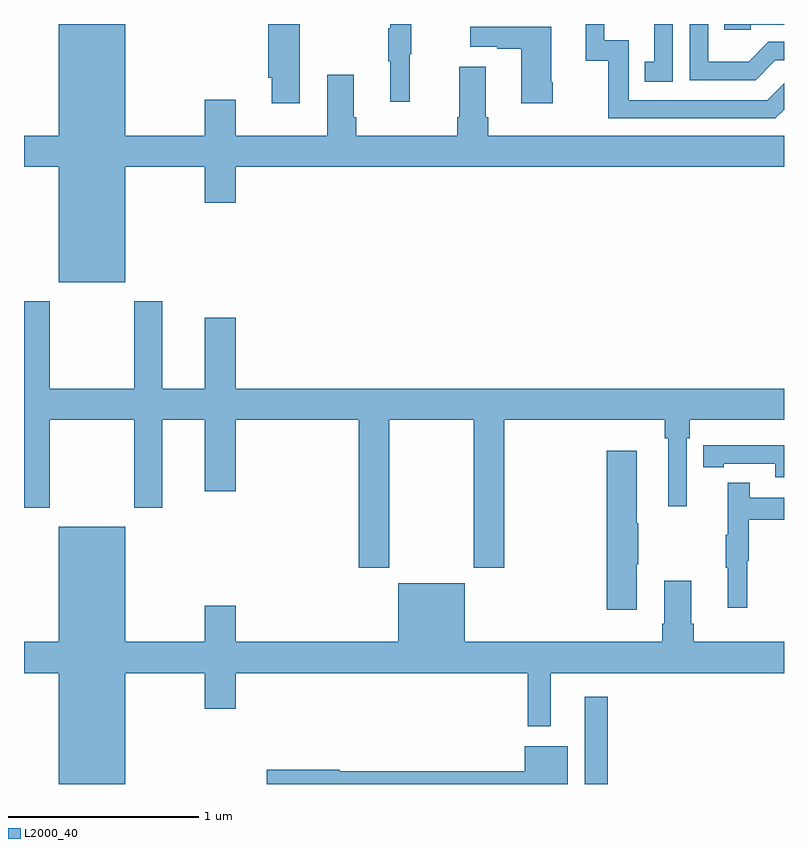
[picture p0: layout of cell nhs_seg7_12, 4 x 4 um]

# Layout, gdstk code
import gdstk
lib = gdstk.Library(unit=1e-6, precision=1e-09)
def R(c, l, rs):  # rectangles x0, y0, x1, y1
    for r in rs: c.add(gdstk.rectangle(r[:2], r[2:], *l))
def P(c, l, *ps):  # polygons
    for p in ps: c.add(gdstk.Polygon(p, *l))
L2000_40 = (2000, 40)

nhs_seg7_12 = lib.new_cell('nhs_seg7_12')
R(nhs_seg7_12, L2000_40, [(113.951,1032,114.073,1032.46)])
P(nhs_seg7_12, L2000_40, [(114.825,1035.996),(115,1035.996),(115,1036),(114.685,1036),(114.685,1035.969),(114.825,1035.969)],
  [(114.414,1036),(114.317,1036),(114.317,1035.801),(114.268,1035.801),(114.268,1035.696),(114.414,1035.696)],
  [(112.45,1036),(112.286,1036),(112.286,1035.717),(112.304,1035.717),(112.304,1035.582),(112.45,1035.582)],
  [(111.532,1035.248),(111.95,1035.248),(111.95,1035.06),(112.114,1035.06),(112.114,1035.248),(115,1035.248),(115,1035.412),(113.444,1035.412),(113.444,1035.508),(113.431,1035.508),(113.431,1035.775),(113.291,1035.775),(113.291,1035.508),(113.279,1035.508),(113.279,1035.412),(112.748,1035.412),(112.748,1035.508),(112.735,1035.508),(112.735,1035.733),(112.595,1035.733),(112.595,1035.412),(112.114,1035.412),(112.114,1035.601),(111.95,1035.601),(111.95,1035.412),(111.532,1035.412),(111.532,1036),(111.182,1036),(111.182,1035.412),(111,1035.412),(111,1035.248),(111.182,1035.248),(111.182,1034.642),(111.532,1034.642)],
  [(113.03,1035.84),(113.038,1035.84),(113.038,1036),(112.928,1036),(112.928,1035.977),(112.917,1035.977),(112.917,1035.803),(112.928,1035.803),(112.928,1035.591),(113.03,1035.591)],
  [(114.955,1035.81),(115,1035.81),(115,1035.906),(114.918,1035.906),(114.814,1035.802),(114.6,1035.802),(114.6,1036),(114.504,1036),(114.504,1035.705),(114.85,1035.705)],
  [(115,1035.55),(115,1035.688),(114.912,1035.6),(114.183,1035.6),(114.183,1035.915),(114.054,1035.915),(114.054,1036),(113.957,1036),(113.957,1035.807),(114.075,1035.807),(114.075,1035.504),(114.954,1035.504)],
  [(113.784,1035.694),(113.776,1035.694),(113.776,1035.985),(113.349,1035.985),(113.349,1035.881),(113.492,1035.881),(113.492,1035.871),(113.618,1035.871),(113.618,1035.582),(113.784,1035.582)],
  [(112.923,1033.916),(113.368,1033.916),(113.368,1033.137),(113.528,1033.137),(113.528,1033.916),(114.373,1033.916),(114.373,1033.82),(114.392,1033.82),(114.392,1033.461),(114.489,1033.461),(114.489,1033.82),(114.503,1033.82),(114.503,1033.916),(115,1033.916),(115,1034.08),(112.114,1034.08),(112.114,1034.455),(111.95,1034.455),(111.95,1034.08),(111.727,1034.08),(111.727,1034.542),(111.58,1034.542),(111.58,1034.08),(111.135,1034.08),(111.135,1034.542),(111,1034.542),(111,1033.455),(111.135,1033.455),(111.135,1033.916),(111.58,1033.916),(111.58,1033.455),(111.727,1033.455),(111.727,1033.916),(111.95,1033.916),(111.95,1033.542),(112.114,1033.542),(112.114,1033.916),(112.763,1033.916),(112.763,1033.137),(112.923,1033.137)],
  [(115,1033.783),(114.682,1033.783),(114.682,1033.782),(114.574,1033.782),(114.574,1033.666),(114.682,1033.666),(114.682,1033.686),(114.954,1033.686),(114.954,1033.614),(115,1033.614)],
  [(114.226,1033.156),(114.234,1033.156),(114.234,1033.373),(114.226,1033.373),(114.226,1033.753),(114.068,1033.753),(114.068,1032.918),(114.226,1032.918)],
  [(114.806,1033.176),(114.814,1033.176),(114.814,1033.39),(115,1033.39),(115,1033.506),(114.821,1033.506),(114.821,1033.585),(114.704,1033.585),(114.704,1033.313),(114.693,1033.313),(114.693,1033.139),(114.704,1033.139),(114.704,1032.927),(114.806,1032.927)],
  [(111.532,1032.584),(111.95,1032.584),(111.95,1032.396),(112.114,1032.396),(112.114,1032.584),(113.652,1032.584),(113.652,1032.303),(113.773,1032.303),(113.773,1032.584),(115,1032.584),(115,1032.748),(114.524,1032.748),(114.524,1032.844),(114.511,1032.844),(114.511,1033.069),(114.371,1033.069),(114.371,1032.844),(114.359,1032.844),(114.359,1032.748),(113.32,1032.748),(113.32,1033.057),(112.97,1033.057),(112.97,1032.748),(112.114,1032.748),(112.114,1032.937),(111.95,1032.937),(111.95,1032.748),(111.532,1032.748),(111.532,1033.354),(111.182,1033.354),(111.182,1032.748),(111,1032.748),(111,1032.584),(111.182,1032.584),(111.182,1032),(111.532,1032)],
  [(113.863,1032.199),(113.636,1032.199),(113.636,1032.068),(112.662,1032.068),(112.662,1032.074),(112.278,1032.074),(112.278,1032),(113.863,1032)])

lib.write_gds('nhs_seg7_12.gds')
